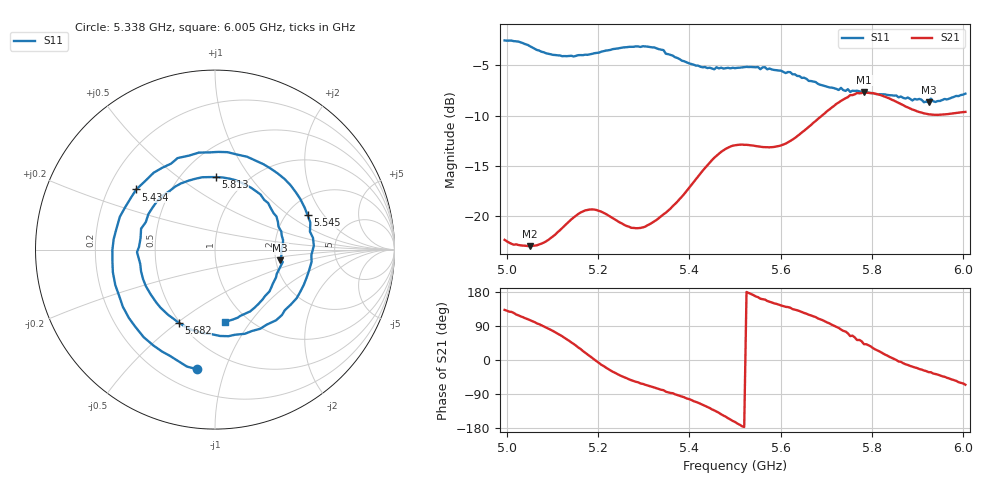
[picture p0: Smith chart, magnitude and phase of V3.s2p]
!File created by NanoVNA
# Hz S RI R 50
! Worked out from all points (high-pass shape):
!   201 points, 4.995 GHz to 6.005 GHz, reference 50 ohm
!   highest |S21| = -7.64 dB at 5.783 GHz (marker M1); lowest = -23.0 dB at 5.051 GHz (marker M2)
!   |S21| within 3 dB of the highest: 5.674 GHz to end of sweep
!   lowest |S11| = -8.7 dB at 5.924 GHz (marker M3), VSWR 2.16, Z = 106 - j14.4 ohm
!   |S11| at or under -10 dB: nowhere
!   S12 and S22 are empty: the file has one direction only
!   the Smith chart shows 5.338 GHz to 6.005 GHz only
!   S11 on the Smith chart (normalised r, x): 5.338 GHz: 0.33, -0.81; 5.434 GHz: 0.32, +0.31; 5.545 GHz: 2.56, +1.42; 5.682 GHz: 0.49, -0.51; 5.813 GHz: 0.72, +0.70; 6.005 GHz: 0.80, -0.77
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4.995e9  0.2311 -0.7126  -0.0509 0.0562  0 0  0 0
5.05055e9  -0.5268 -0.4627  -0.0184 0.0681  0 0  0 0
5.096e9  -0.6193 0.1581  0.0138 0.0761  0 0  0 0
5.1667e9  0.0981 0.6251  0.0963 0.0421  0 0  0 0
5.21215e9  0.5515 0.367  0.0995 -0.0285  0 0  0 0
5.25255e9  0.6852 -0.0795  0.0668 -0.0625  0 0  0 0
5.2879e9  0.5218 -0.4657  0.0447 -0.0744  0 0  0 0
5.33335e9  -0.036 -0.6766  0.022 -0.095  0 0  0 0
5.3384e9  -0.0996 -0.6667  0.0197 -0.0976  0 0  0 0
5.3889e9  -0.5554 -0.1981  -0.0191 -0.1272  0 0  0 0
5.43435e9  -0.4389 0.3351  -0.0892 -0.1484  0 0  0 0
5.5e9  0.2206 0.4983  -0.2154 -0.064  0 0  0 0
5.54545e9  0.5157 0.193  -0.2177 0.0473  0 0  0 0
5.601e9  0.4553 -0.2704  -0.1814 0.1322  0 0  0 0
5.6717e9  -0.1082 -0.4545  -0.1239 0.2632  0 0  0 0
5.6818e9  -0.203 -0.4074  -0.1022 0.2865  0 0  0 0
5.7323e9  -0.4345 -0.0139  0.0623 0.369  0 0  0 0
5.7828e9  -0.2215 0.3513  0.3104 0.2754  0 0  0 0
5.8131e9  0.00377 0.4041  0.3665 0.1683  0 0  0 0
5.83835e9  0.1713 0.361  0.3804 0.0567  0 0  0 0
5.9242e9  0.3629 -0.059  0.2721 -0.1702  0 0  0 0
6.005e9  0.0581 -0.4023  0.1382 -0.2994  0 0  0 0
